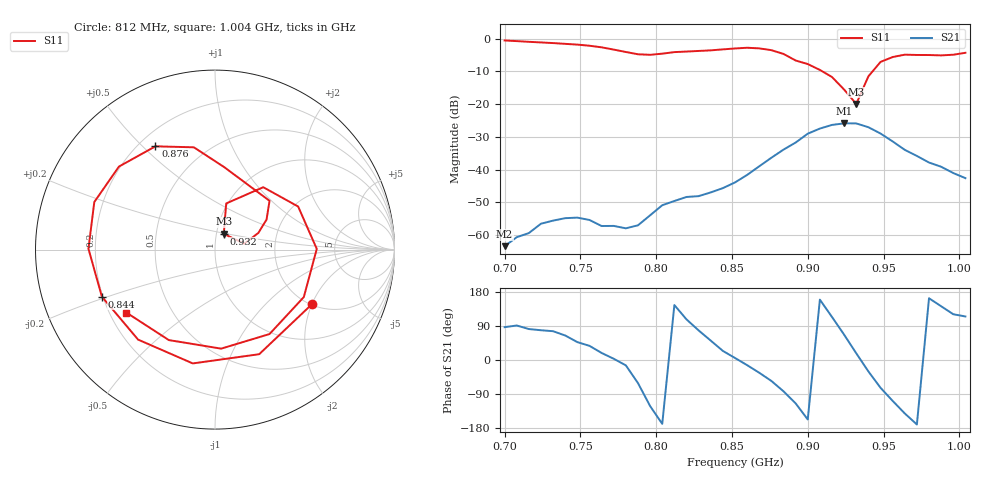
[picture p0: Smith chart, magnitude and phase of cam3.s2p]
# Hz S RI R 50
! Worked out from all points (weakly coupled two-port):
!   39 points, 700 MHz to 1.004 GHz, reference 50 ohm
!   highest |S21| = -25.86 dB at 924 MHz (marker M1); lowest = -63.3 dB at 700 MHz (marker M2)
!   lowest |S11| = -20.0 dB at 932 MHz (marker M3), VSWR 1.22, Z = 54.3 + j9.63 ohm
!   |S11| at or under -10 dB: 909.6 MHz to 942.8 MHz (33.24 MHz wide, 3.59 % of centre)
!   S12 and S22 are empty: the file has one direction only
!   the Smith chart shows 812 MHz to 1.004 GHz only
!   S11 on the Smith chart (normalised r, x): 812 MHz: 2.03, -2.01; 844 MHz: 0.20, -0.19; 876 MHz: 0.27, +0.55; 932 MHz: 1.09, +0.19; 1.004 GHz: 0.27, -0.30
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7e8  0.771 0.527  4.02e-05 0.000681  0 0  0 0
7.24e8  0.8321 -0.2593  0.000298 0.00147  0 0  0 0
7.4e8  0.441 -0.702  0.000782 0.00165  0 0  0 0
7.56e8  -0.1999 -0.7498  0.00136 0.00104  0 0  0 0
7.72e8  -0.6519 -0.1854  0.00139 7.81e-05  0 0  0 0
7.8e8  -0.5774 0.234  0.00124 -0.000314  0 0  0 0
7.88e8  -0.2189 0.5317  0.000688 -0.00124  0 0  0 0
7.96e8  0.2634 0.4988  -0.00106 -0.00172  0 0  0 0
8.04e8  0.5698 0.1431  -0.00281 -0.000571  0 0  0 0
8.12e8  0.5413 -0.3032  -0.00273 0.00191  0 0  0 0
8.28e8  -0.1238 -0.6341  0.000818 0.00387  0 0  0 0
8.44e8  -0.6303 -0.2621  0.00478 0.00213  0 0  0 0
8.52e8  -0.7051 0.00504  0.00637 0.000591  0 0  0 0
8.76e8  -0.3319 0.5754  0.00866 -0.0125  0 0  0 0
9e8  0.304 0.2717  -0.0326 -0.0139  0 0  0 0
9.08e8  0.2871 0.1669  -0.0396 0.015  0 0  0 0
9.24e8  0.1633 0.0325  0.0201 0.0468  0 0  0 0
9.32e8  0.0489 0.0879  0.0484 0.0154  0 0  0 0
9.4e8  0.0625 0.2572  0.0384 -0.0223  0 0  0 0
9.56e8  0.4633 0.2399  -0.00827 -0.0257  0 0  0 0
9.8e8  0.3037 -0.4705  -0.0123 0.00378  0 0  0 0
1.004e9  -0.4934 -0.351  -0.00313 0.00675  0 0  0 0
